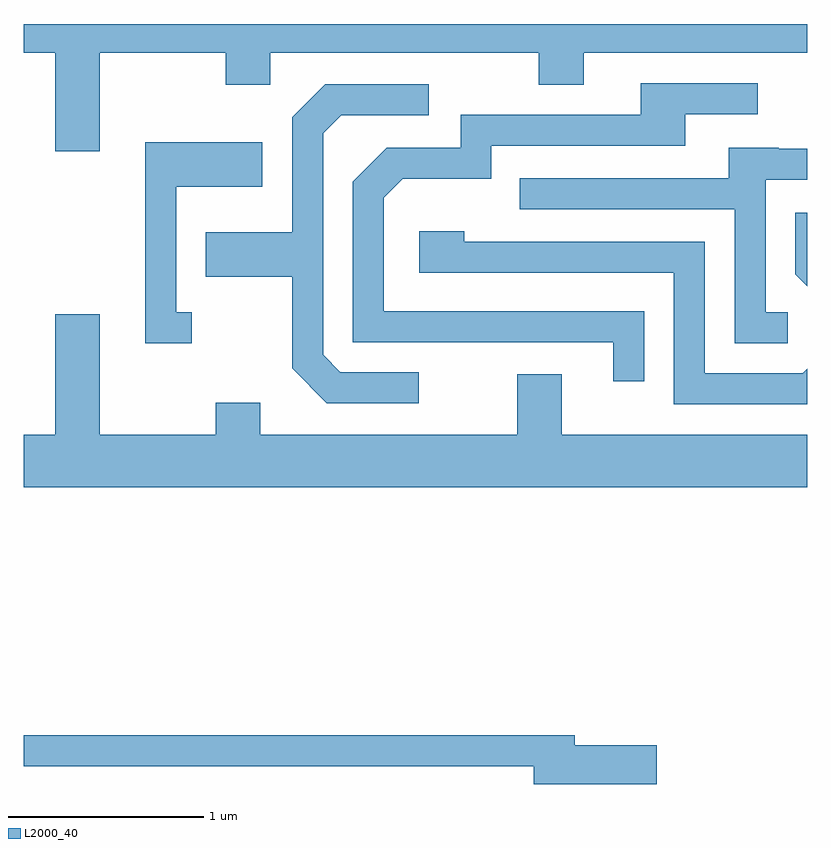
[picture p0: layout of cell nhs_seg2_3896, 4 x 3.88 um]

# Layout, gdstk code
import gdstk
lib = gdstk.Library(unit=1e-6, precision=1e-09)
def P(c, l, *ps):  # polygons
    for p in ps: c.add(gdstk.Polygon(p, *l))
L2000_40 = (2000, 40)

nhs_seg2_3896 = lib.new_cell('nhs_seg2_3896')
P(nhs_seg2_3896, L2000_40, [(299.999,1041.656),(300.641,1041.656),(300.641,1041.491),(300.869,1041.491),(300.869,1041.656),(302.241,1041.656),(302.241,1041.491),(302.469,1041.491),(302.469,1041.656),(303.611,1041.656),(303.611,1041.802),(299.611,1041.802),(299.611,1041.656),(299.771,1041.656),(299.771,1041.151),(299.999,1041.151)],
  [(302.779,1040.334),(301.449,1040.334),(301.449,1040.914),(301.547,1041.011),(301.999,1041.011),(301.999,1041.181),(302.989,1041.181),(302.989,1041.341),(303.358,1041.341),(303.358,1041.499),(302.761,1041.499),(302.761,1041.339),(301.841,1041.339),(301.841,1041.169),(301.464,1041.169),(301.291,1040.997),(301.291,1040.176),(302.621,1040.176),(302.621,1039.978),(302.779,1039.978)],
  [(301.628,1040.024),(301.227,1040.024),(301.139,1040.112),(301.139,1041.244),(301.232,1041.336),(301.678,1041.336),(301.678,1041.494),(301.149,1041.494),(300.981,1041.327),(300.981,1040.739),(300.541,1040.739),(300.541,1040.511),(300.981,1040.511),(300.981,1040.044),(301.159,1039.866),(301.628,1039.866)],
  [(300.468,1040.329),(300.389,1040.329),(300.389,1040.971),(300.829,1040.971),(300.829,1041.199),(300.231,1041.199),(300.231,1040.171),(300.468,1040.171)],
  [(303.513,1040.329),(303.399,1040.329),(303.399,1041.006),(303.611,1041.006),(303.611,1041.164),(303.465,1041.164),(303.465,1041.169),(303.211,1041.169),(303.211,1041.014),(302.143,1041.014),(302.143,1040.856),(303.241,1040.856),(303.241,1040.171),(303.513,1040.171)],
  [(303.611,1040.838),(303.551,1040.838),(303.551,1040.524),(303.611,1040.464)],
  [(303.611,1040.041),(303.589,1040.019),(303.089,1040.019),(303.089,1040.689),(301.859,1040.689),(301.859,1040.744),(301.631,1040.744),(301.631,1040.531),(302.931,1040.531),(302.931,1039.861),(303.611,1039.861)],
  [(303.611,1039.704),(302.359,1039.704),(302.359,1040.014),(302.131,1040.014),(302.131,1039.704),(300.819,1039.704),(300.819,1039.869),(300.591,1039.869),(300.591,1039.704),(299.999,1039.704),(299.999,1040.319),(299.771,1040.319),(299.771,1039.704),(299.611,1039.704),(299.611,1039.436),(303.611,1039.436)],
  [(302.844,1038.119),(302.424,1038.119),(302.424,1038.169),(299.611,1038.169),(299.611,1038.011),(302.216,1038.011),(302.216,1037.921),(302.844,1037.921)])

lib.write_gds('nhs_seg2_3896.gds')
